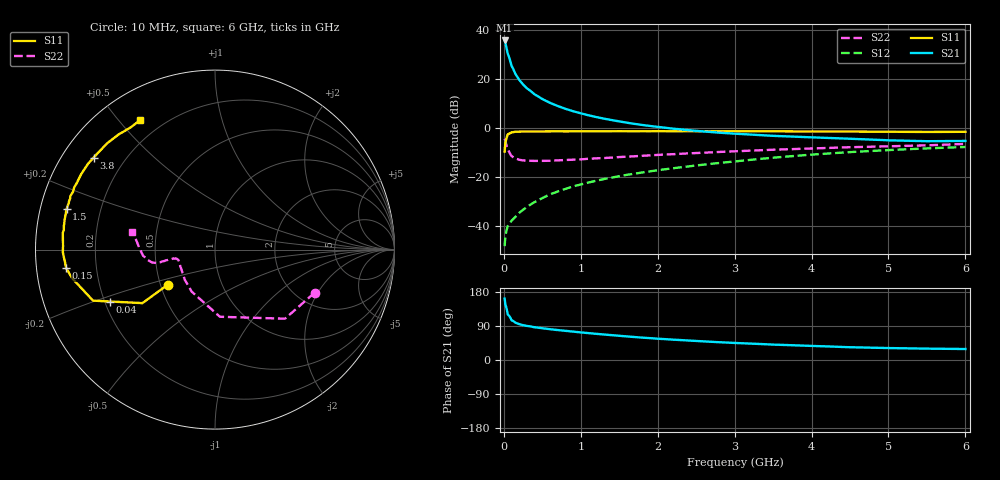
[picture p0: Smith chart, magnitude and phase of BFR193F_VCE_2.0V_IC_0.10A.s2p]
! Infineon Technologies  Discrete & RF Semiconductors
! BFR193F
! VCE =  2.0 V,  IC = 0.10 A
! Common Emitter S-Parameters:  Jan 2017
# GHz  S  MA  R  50
!  f  S11  S21  S12  S22
! GHz  MAG  ANG  MAG  ANG  MAG  ANG  MAG  ANG
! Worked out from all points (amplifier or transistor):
!   77 points, 10 MHz to 6 GHz, reference 50 ohm
!   highest |S21| = 35.8 dB at 10 MHz (marker M1)
!   |S21| within 3 dB of that: start of sweep to 33.93 MHz
!   unconditionally stable (mu >= 1): start of sweep to 13.07 MHz; 234.6 MHz to 3.397 GHz; 4.966 GHz to 5.958 GHz
!   at 130 MHz: K = 0.82, MSG = 30.3 dB, |S12| = -37.0 dB
!   at 2.2 GHz: K = 1.11, MAG = 6.1 dB, |S12| = -16.5 dB
!   at 6 GHz: K = 1.00, MSG = 1.2 dB, |S12| = -7.8 dB
!   S11 on the Smith chart (normalised r, x): 10 MHz: 0.54, -0.24; 40 MHz: 0.22, -0.22; 150 MHz: 0.09, -0.06; 1.5 GHz: 0.08, +0.13; 3.8 GHz: 0.09, +0.33; 6 GHz: 0.12, +0.57
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0.01  0.3291 -143.4  61.75 162.1  0.0038 71.1  0.6045 -23.5
0.02  0.5027 -143.6  54.55 146.2  0.0061 64.2  0.548 -44.6
0.04  0.655 -153.8  39.51 132.0  0.0085 52.3  0.4058 -68.6
0.05  0.7365 -157.3  33.5 120.4  0.0098 48.6  0.3752 -85.8
0.1  0.8105 -168.5  18.71 104.9  0.0126 48.6  0.268 -118.9
0.15  0.836 -173.0  12.79 98.6  0.0151 54.6  0.2379 -135.0
0.2  0.8395 -175.7  9.652 94.6  0.0183 60.4  0.2234 -143.9
0.25  0.8447 -177.7  7.745 92.0  0.0211 62.7  0.216 -150.6
0.3  0.8478 -179.0  6.48 89.9  0.0242 65.5  0.2147 -154.4
0.4  0.8469 178.6  4.863 86.4  0.0303 69.5  0.2111 -159.8
0.5  0.8483 177.0  3.905 83.8  0.0366 71.9  0.2116 -162.7
0.6  0.8505 175.3  3.27 81.3  0.0437 73.9  0.213 -164.6
0.7  0.8531 173.7  2.812 79.0  0.0499 74.7  0.2169 -165.7
0.9  0.8522 171.1  2.201 74.9  0.0635 76.1  0.2238 -167.2
1.1  0.8542 168.9  1.816 70.9  0.0763 76.0  0.2336 -167.6
1.5  0.857 164.6  1.361 63.9  0.103 76.2  0.2535 -167.9
2.1  0.8566 158.7  1.009 55.0  0.1428 75.1  0.2854 -167.5
3.1  0.8551 149.7  0.748 44.2  0.2137 71.7  0.3374 -167.4
3.8  0.8484 142.8  0.661 38.6  0.2686 67.9  0.3709 -170.1
4.1  0.8451 139.7  0.634 36.5  0.2912 65.8  0.3843 -172.1
5.1  0.8342 128.9  0.553 31.2  0.3577 58.1  0.4247 177.8
6  0.8339 119.9  0.542 29.0  0.4074 51.6  0.4714 167.7
